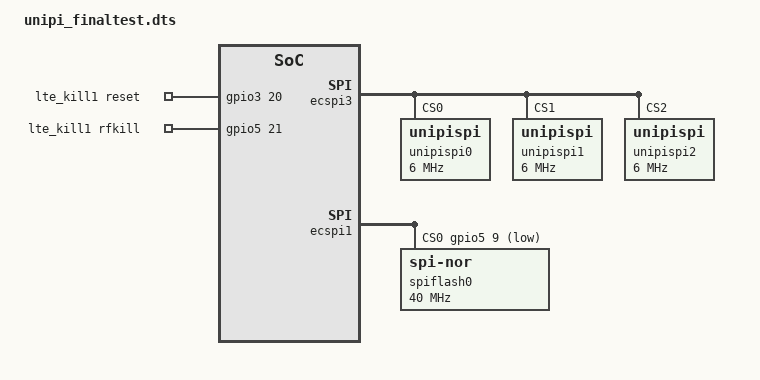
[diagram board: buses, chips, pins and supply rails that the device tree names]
// SPDX-License-Identifier: (GPL-2.0+ OR MIT)
/*
 * Copyright 2026 Unipi Technology
 */

/dts-v1/;
/plugin/;
/ {
	compatible = "unipi,zulu";
	fragment@0 {
		target = <&ecspi3>;
		__overlay__ {
			#address-cells = <1>;
			#size-cells = <0>;
			unipispi0: unipispi@0 {
				compatible = "unipispi";
				reg = <0>;
				modbus-address = <1>;
				status = "okay";
				probe-always-succeeds = <1>;
				spi-max-frequency = <6000000>;
			};
			unipispi1: unipispi@1 {
				compatible = "unipispi";
				reg = <1>;
				modbus-address = <2>;
				status = "okay";
				probe-always-succeeds = <1>;
				spi-max-frequency = <6000000>;
			};
			unipispi2: unipispi@2 {
				compatible = "unipispi";
				reg = <2>;
				modbus-address = <3>;
				status = "okay";
				probe-always-succeeds = <1>;
				spi-max-frequency = <6000000>;
			};
		};
	};
	fragment@1 {
		target = <&usbotg1>;
		__overlay__ {
			#address-cells = <1>;
			#size-cells = <0>;
			usbslot1: usbslot1@1 {
				reg = <1>;
			};
		};
	};
	fragment@2 {
		target-path = "/";
		__overlay__ {
			lte_kill1 {
				/* Timing is for Quectel EG-915U */
				compatible = "unipi,rfkill-quectel912";
				type = "wwan";
				reset-gpio = <&gpio3 20 0>;
				rfkill-gpio = <&gpio5 21 0>;
				monitor-usb = "usbslot1";
				start-pulse-ms = <2050>;
				stop-pulse-ms = <3050>;
				reset-pulse-ms = <150>;
			};
		};
	};
	fragment@3 {
		target = <&ecspi1>;
		__overlay__ {
			#address-cells = <1>;
			#size-cells = <0>;
			fsl,spi-num-chipselects = <0>;
			pinctrl-names = "default";
			pinctrl-0 = <&pinctrl_ecspi1>;
			cs-gpios = <&gpio5 9 1>;
			status = "okay";
			spiflash0: spiflash@0 {
				compatible = "jedec,spi-nor";
				reg = <0>;
				status = "okay";
				spi-max-frequency = <40000000>;
			};
		};
	};
};
/*
&unipi_mb {
    /delete-property/ read-only;
};
*/

